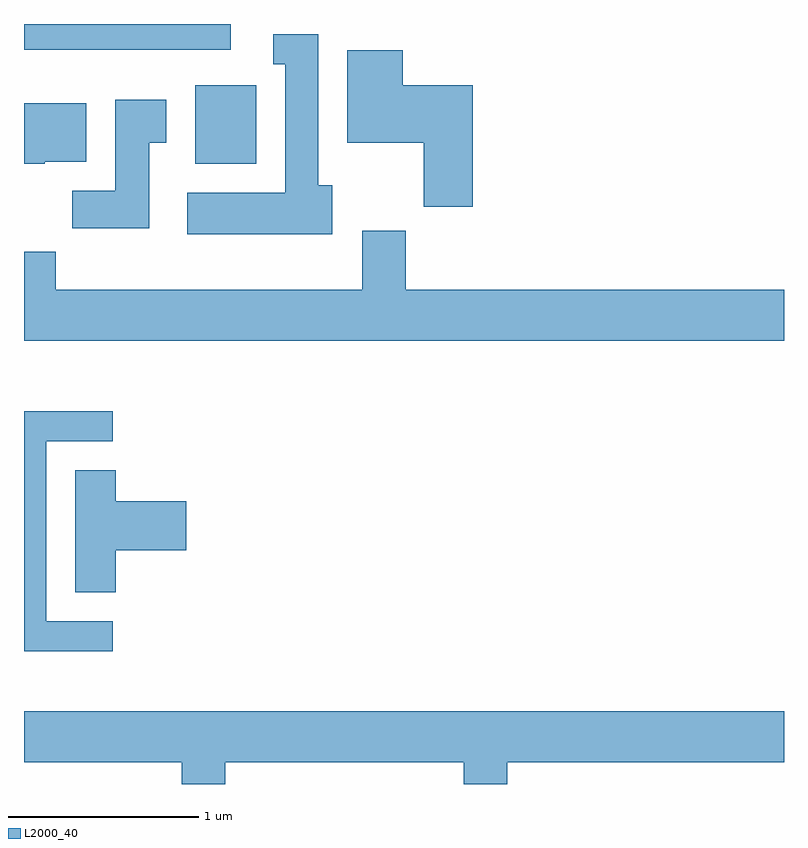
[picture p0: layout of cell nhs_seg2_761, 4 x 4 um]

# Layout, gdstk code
import gdstk
lib = gdstk.Library(unit=1e-6, precision=1e-09)
def R(c, l, rs):  # rectangles x0, y0, x1, y1
    for r in rs: c.add(gdstk.rectangle(r[:2], r[2:], *l))
def P(c, l, *ps):  # polygons
    for p in ps: c.add(gdstk.Polygon(p, *l))
L2000_40 = (2000, 40)

nhs_seg2_761 = lib.new_cell('nhs_seg2_761')
R(nhs_seg2_761, L2000_40, [(208.511,1007.066,208.834,1007.479), (207.611,1007.666,208.699,1007.802)])
P(nhs_seg2_761, L2000_40, [(209.234,1006.954),(209.159,1006.954),(209.159,1007.749),(208.923,1007.749),(208.923,1007.591),(208.986,1007.591),(208.986,1006.914),(208.471,1006.914),(208.471,1006.696),(209.234,1006.696)],
  [(209.974,1007.479),(209.604,1007.479),(209.604,1007.664),(209.311,1007.664),(209.311,1007.176),(209.716,1007.176),(209.716,1006.841),(209.974,1006.841)],
  [(208.269,1007.176),(208.359,1007.176),(208.359,1007.404),(208.091,1007.404),(208.091,1006.924),(207.866,1006.924),(207.866,1006.726),(208.269,1006.726)],
  [(207.72,1007.076),(207.939,1007.076),(207.939,1007.384),(207.611,1007.384),(207.611,1007.066),(207.72,1007.066)],
  [(211.611,1006.404),(209.619,1006.404),(209.619,1006.714),(209.391,1006.714),(209.391,1006.404),(207.779,1006.404),(207.779,1006.604),(207.611,1006.604),(207.611,1006.136),(211.611,1006.136)],
  [(208.078,1004.659),(207.729,1004.659),(207.729,1005.606),(208.078,1005.606),(208.078,1005.764),(207.611,1005.764),(207.611,1004.501),(208.078,1004.501)],
  [(208.094,1005.031),(208.464,1005.031),(208.464,1005.289),(208.094,1005.289),(208.094,1005.454),(207.881,1005.454),(207.881,1004.811),(208.094,1004.811)],
  [(208.669,1003.916),(209.926,1003.916),(209.926,1003.802),(210.154,1003.802),(210.154,1003.916),(211.611,1003.916),(211.611,1004.184),(207.611,1004.184),(207.611,1003.916),(208.441,1003.916),(208.441,1003.802),(208.669,1003.802)])

lib.write_gds('nhs_seg2_761.gds')
